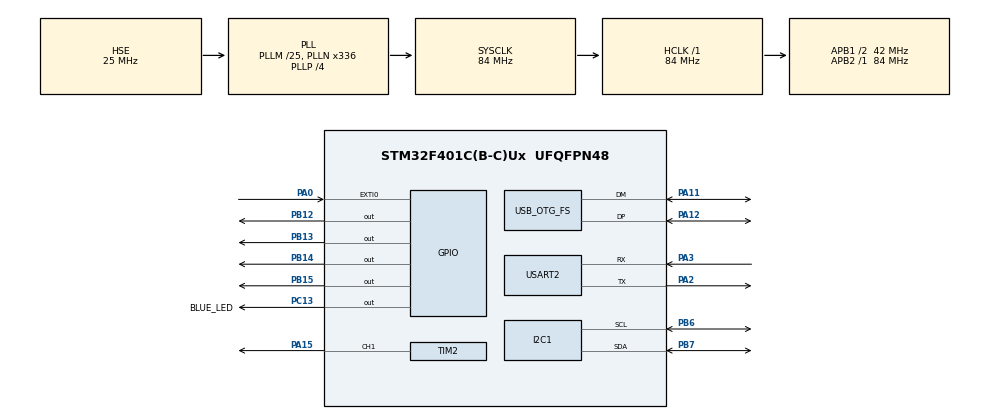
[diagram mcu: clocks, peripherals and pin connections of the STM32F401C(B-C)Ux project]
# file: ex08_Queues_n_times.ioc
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Mcu.Family=STM32F4
Mcu.Name=STM32F401C(B-C)Ux
Mcu.Package=UFQFPN48
NVIC.EXTI0_IRQn=true\:6\:0\:true\:false\:true\:true\:true\:true
NVIC.OTG_FS_IRQn=true\:0\:0\:true\:false\:true\:false\:true\:true
NVIC.PriorityGroup=NVIC_PRIORITYGROUP_4
NVIC.TIM1_UP_TIM10_IRQn=true\:15\:0\:false\:false\:true\:false\:true\:true
NVIC.TimeBase=TIM1_UP_TIM10_IRQn
NVIC.TimeBaseIP=TIM1
NVIC.USART2_IRQn=true\:6\:0\:true\:false\:true\:true\:true\:true
PA0-WKUP.GPIO_ModeDefaultEXTI=GPIO_MODE_IT_RISING
PA0-WKUP.GPIO_PuPd=GPIO_PULLUP
PA0-WKUP.Signal=GPXTI0
PA11.Mode=Device_Only
PA11.Signal=USB_OTG_FS_DM
PA12.Mode=Device_Only
PA12.Signal=USB_OTG_FS_DP
PA13.Mode=Trace_Asynchronous_SW
PA13.Signal=SYS_JTMS-SWDIO
PA14.Mode=Trace_Asynchronous_SW
PA14.Signal=SYS_JTCK-SWCLK
PA15.Signal=S_TIM2_CH1_ETR
PA2.Mode=Asynchronous
PA2.Signal=USART2_TX
PA3.Mode=Asynchronous
PA3.Signal=USART2_RX
PB12.GPIO_PuPd=GPIO_PULLUP
PB12.PinState=GPIO_PIN_RESET
PB12.Signal=GPIO_Output
PB13.GPIO_PuPd=GPIO_PULLUP
PB13.PinState=GPIO_PIN_RESET
PB13.Signal=GPIO_Output
PB14.GPIO_PuPd=GPIO_PULLUP
PB14.PinState=GPIO_PIN_RESET
PB14.Signal=GPIO_Output
PB15.GPIO_PuPd=GPIO_PULLUP
PB15.Signal=GPIO_Output
PB3.Mode=Trace_Asynchronous_SW
PB3.Signal=SYS_JTDO-SWO
PB6.Mode=I2C
PB6.Signal=I2C1_SCL
PB7.Mode=I2C
PB7.Signal=I2C1_SDA
PC13-ANTI_TAMP.GPIO_Label=BLUE_LED
PC13-ANTI_TAMP.GPIO_ModeDefaultOutputPP=GPIO_MODE_OUTPUT_OD
PC13-ANTI_TAMP.GPIO_PuPd=GPIO_NOPULL
PC13-ANTI_TAMP.PinState=GPIO_PIN_SET
PC13-ANTI_TAMP.Signal=GPIO_Output
PC14-OSC32_IN.Mode=LSE-External-Oscillator
PC14-OSC32_IN.Signal=RCC_OSC32_IN
PC15-OSC32_OUT.Mode=LSE-External-Oscillator
PC15-OSC32_OUT.Signal=RCC_OSC32_OUT
PH0\ -\ OSC_IN.Mode=HSE-External-Oscillator
PH0\ -\ OSC_IN.Signal=RCC_OSC_IN
PH1\ -\ OSC_OUT.Mode=HSE-External-Oscillator
PH1\ -\ OSC_OUT.Signal=RCC_OSC_OUT
ProjectManager.HeapSize=0x200
ProjectManager.StackSize=0x400
ProjectManager.TargetToolchain=STM32CubeIDE
RCC.48MHZClocksFreq_Value=48000000
RCC.AHBFreq_Value=84000000
RCC.APB1CLKDivider=RCC_HCLK_DIV2
RCC.APB1Freq_Value=42000000
RCC.APB1TimFreq_Value=84000000
RCC.APB2Freq_Value=84000000
RCC.APB2TimFreq_Value=84000000
RCC.CortexFreq_Value=84000000
RCC.HCLKFreq_Value=84000000
RCC.HSE_VALUE=25000000
RCC.HSI_VALUE=16000000
RCC.PLLM=25
RCC.PLLN=336
RCC.PLLP=RCC_PLLP_DIV4
RCC.PLLQ=7
RCC.SYSCLKFreq_VALUE=84000000
RCC.SYSCLKSource=RCC_SYSCLKSOURCE_PLLCLK
RCC.VCOOutputFreq_Value=336000000
RTC.HourFormat=RTC_HOURFORMAT_12
SH.S_TIM2_CH1_ETR.0=TIM2_CH1,PWM Generation1 CH1
TIM2.Channel-PWM\ Generation1\ CH1=TIM_CHANNEL_1
USART2.VirtualMode=VM_ASYNC
USB_DEVICE.CLASS_NAME_FS=CDC
USB_DEVICE.VirtualMode=Cdc
USB_DEVICE.VirtualModeFS=Cdc_FS
USB_OTG_FS.VirtualMode=Device_Only
VP_RTC_VS_RTC_Activate.Mode=RTC_Enabled
VP_SYS_VS_tim1.Mode=TIM1
VP_USB_DEVICE_VS_USB_DEVICE_CDC_FS.Mode=CDC_FS
board=custom

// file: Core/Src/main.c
/* USER CODE BEGIN Header */
/**
  ******************************************************************************
  * @file           : main.c
  * @brief          : Main program body
  ******************************************************************************
  * @attention
  *
  * Copyright (c) 2022 STMicroelectronics.
  * All rights reserved.
  *
  * This software is licensed under terms that can be found in the LICENSE file
  * in the root directory of this software component.
  * If no LICENSE file comes with this software, it is provided AS-IS.
  *
  ******************************************************************************
  */
/* USER CODE END Header */
#include "main.h"
#include "i2c.h"
#include "rtc.h"
#include "tim.h"
#include "usart.h"
#include "usb_device.h"
#include "gpio.h"

/* USER CODE BEGIN Includes */
#include "dwt_delay.h"
/* USER CODE END Includes */

/* USER CODE BEGIN PV */
TaskHandle_t handle_menu_task;
TaskHandle_t handle_cmd_task;
TaskHandle_t handle_print_task;
TaskHandle_t handle_led_task;
TaskHandle_t handle_rtc_task;

QueueHandle_t q_data;
QueueHandle_t q_print;

TimerHandle_t handle_led_timer[4];
TimerHandle_t rtc_timer;

state_t curr_state = sMainMenu;
volatile uint8_t user_data;
/* USER CODE END PV */

void SystemClock_Config(void);
/* USER CODE BEGIN PFP */
void led_effect_callback(TimerHandle_t xTimer);
void rtc_report_callback(TimerHandle_t xTimer);
/* USER CODE END PFP */

int main(void)
{
  /* USER CODE BEGIN 1 */
  BaseType_t status;
  /* USER CODE END 1 */

  /* MCU Configuration--------------------------------------------------------*/

  /* Reset of all peripherals, Initializes the Flash interface and the Systick. */
  HAL_Init();

  /* Configure the system clock */
  SystemClock_Config();

  /* Initialize all configured peripherals */
  MX_GPIO_Init();
  MX_I2C1_Init();
  MX_TIM2_Init();
  MX_USB_DEVICE_Init();
  MX_RTC_Init();
  MX_USART2_UART_Init();
  /* USER CODE BEGIN 2 */
  vSetVarulMaxPRIGROUPValue();
  DWT_Init();
  SEGGER_UART_init(500000);
  SEGGER_SYSVIEW_Conf();

  status = xTaskCreate(menu_task, "menu_task", 250, NULL, 2, &handle_menu_task);
  configASSERT(status == pdPASS);

  status = xTaskCreate(led_task, "led_task", 250, NULL, 2, &handle_led_task);
  configASSERT(status == pdPASS);

  status = xTaskCreate(rtc_task, "rtc_task", 250, NULL, 2, &handle_rtc_task);
  configASSERT(status == pdPASS);

  status = xTaskCreate(cmd_task, "cmd_task", 250, NULL, 2, &handle_cmd_task);
    configASSERT(status == pdPASS);

    status = xTaskCreate(print_task, "print_task", 250, NULL, 2, &handle_print_task);
    configASSERT(status == pdPASS);

  q_data = xQueueCreate(10, sizeof(char));
  configASSERT(q_data != NULL);

  q_print = xQueueCreate(10, sizeof(char*));
  configASSERT(q_print != NULL);

  for (int i = 0; i < 4; i++)
	  handle_led_timer[i] = xTimerCreate("led_timer", pdMS_TO_TICKS(500), pdTRUE, (void *)(i + 1), led_effect_callback);

  rtc_timer = xTimerCreate("rtc_report_timer", pdMS_TO_TICKS(1000), pdTRUE, NULL, rtc_report_callback);

  HAL_UART_Receive_IT(&huart2, (uint8_t *)&user_data, 1);

  vTaskStartScheduler();
  /* USER CODE END 2 */

  /* Infinite loop */
  while (1)
  {

  }
}

void SystemClock_Config(void)
{
  RCC_OscInitTypeDef RCC_OscInitStruct = {0};
  RCC_ClkInitTypeDef RCC_ClkInitStruct = {0};

  /** Configure the main internal regulator output voltage
  */
  __HAL_RCC_PWR_CLK_ENABLE();
  __HAL_PWR_VOLTAGESCALING_CONFIG(PWR_REGULATOR_VOLTAGE_SCALE2);

  /** Initializes the RCC Oscillators according to the specified parameters
  * in the RCC_OscInitTypeDef structure.
  */
  RCC_OscInitStruct.OscillatorType = RCC_OSCILLATORTYPE_LSI|RCC_OSCILLATORTYPE_HSE;
  RCC_OscInitStruct.HSEState = RCC_HSE_ON;
  RCC_OscInitStruct.LSIState = RCC_LSI_ON;
  RCC_OscInitStruct.PLL.PLLState = RCC_PLL_ON;
  RCC_OscInitStruct.PLL.PLLSource = RCC_PLLSOURCE_HSE;
  RCC_OscInitStruct.PLL.PLLM = 25;
  RCC_OscInitStruct.PLL.PLLN = 336;
  RCC_OscInitStruct.PLL.PLLP = RCC_PLLP_DIV4;
  RCC_OscInitStruct.PLL.PLLQ = 7;
  if (HAL_RCC_OscConfig(&RCC_OscInitStruct) != HAL_OK)
  {
    Error_Handler();
  }

  /** Initializes the CPU, AHB and APB buses clocks
  */
  RCC_ClkInitStruct.ClockType = RCC_CLOCKTYPE_HCLK|RCC_CLOCKTYPE_SYSCLK
                              |RCC_CLOCKTYPE_PCLK1|RCC_CLOCKTYPE_PCLK2;
  RCC_ClkInitStruct.SYSCLKSource = RCC_SYSCLKSOURCE_PLLCLK;
  RCC_ClkInitStruct.AHBCLKDivider = RCC_SYSCLK_DIV1;
  RCC_ClkInitStruct.APB1CLKDivider = RCC_HCLK_DIV2;
  RCC_ClkInitStruct.APB2CLKDivider = RCC_HCLK_DIV1;

  if (HAL_RCC_ClockConfig(&RCC_ClkInitStruct, FLASH_LATENCY_2) != HAL_OK)
  {
    Error_Handler();
  }
}

/* USER CODE BEGIN 4 */
void rtc_report_callback(TimerHandle_t xTimer)
{
	show_time_date_itm();
}

void led_effect_callback(TimerHandle_t xTimer)
{
	int id;
	id = (uint32_t) pvTimerGetTimerID(xTimer);

	switch(id) {
	case 1:
		LED_effect1();
		break;
	case 2:
		LED_effect2();
		break;
	case 3:
		LED_effect3();
		break;
	case 4:
		LED_effect4();
		break;
	}
}

void HAL_UART_RxCpltCallback(UART_HandleTypeDef *huart)
{
	uint8_t dummy;

	if (!xQueueIsQueueFullFromISR(q_data)) {
		xQueueSendFromISR(q_data, (void *)&user_data, NULL);
	} else {
		if (user_data == '\n') {
			xQueueReceiveFromISR(q_data, (void *)&dummy, NULL);
			xQueueSendFromISR(q_data, (void *)&user_data, NULL);
		}
	}

	if (user_data == '\n')
		xTaskNotifyFromISR(handle_cmd_task, 0, eNoAction, NULL);

	HAL_UART_Receive_IT(&huart2, (uint8_t *)&user_data, 1);
}
/* USER CODE END 4 */

void HAL_TIM_PeriodElapsedCallback(TIM_HandleTypeDef *htim)
{
  if (htim->Instance == TIM1) {
    HAL_IncTick();
  }
}

void Error_Handler(void)
{
  __disable_irq();
  while (1)
  {
  }
}
